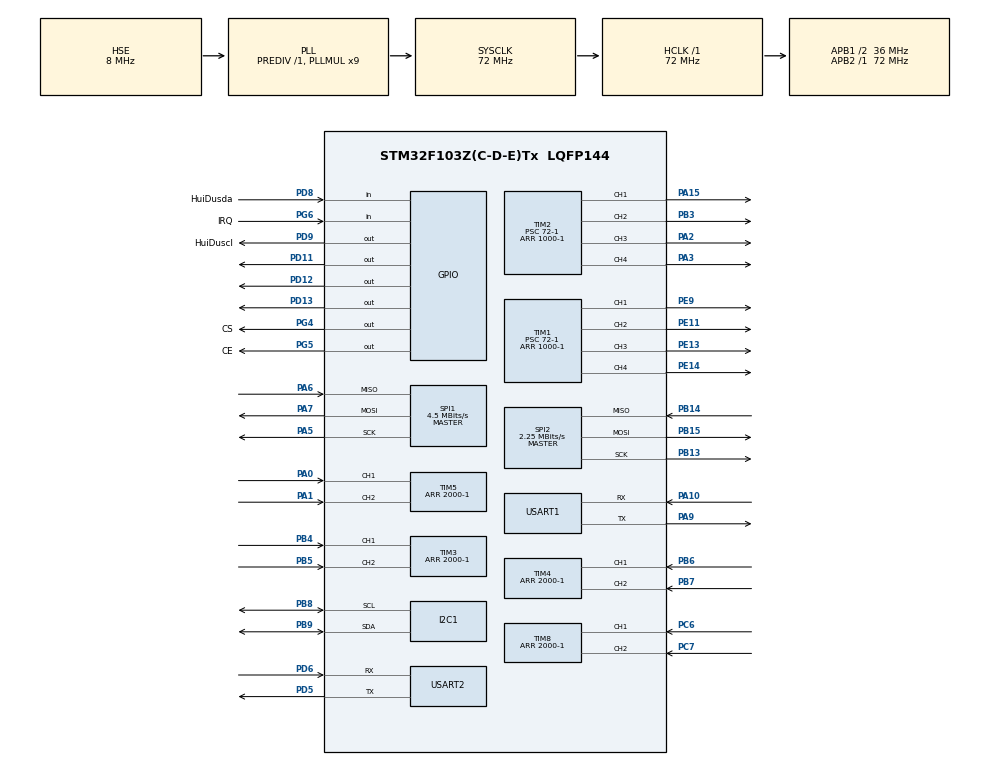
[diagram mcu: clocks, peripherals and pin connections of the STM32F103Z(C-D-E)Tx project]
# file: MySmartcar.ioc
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FREERTOS.Tasks01=defaultTask,0,128,StartDefaultTask,Default,NULL,Dynamic,NULL,NULL
Mcu.Family=STM32F1
Mcu.Name=STM32F103Z(C-D-E)Tx
Mcu.Package=LQFP144
NVIC.PriorityGroup=NVIC_PRIORITYGROUP_4
NVIC.SPI2_IRQn=true\:5\:0\:false\:false\:true\:true\:true\:true\:true
NVIC.TIM1_BRK_IRQn=true\:5\:0\:true\:false\:true\:true\:true\:true\:true
NVIC.TIM1_CC_IRQn=true\:5\:0\:true\:false\:true\:true\:true\:true\:true
NVIC.TIM1_TRG_COM_IRQn=true\:5\:0\:true\:false\:true\:true\:true\:true\:true
NVIC.TIM1_UP_IRQn=true\:5\:0\:true\:false\:true\:true\:true\:true\:true
NVIC.TIM2_IRQn=true\:5\:0\:true\:false\:true\:true\:true\:true\:true
NVIC.TIM3_IRQn=true\:5\:0\:true\:false\:true\:true\:true\:true\:true
NVIC.TIM4_IRQn=true\:5\:0\:true\:false\:true\:true\:true\:true\:true
NVIC.TIM5_IRQn=true\:5\:0\:true\:false\:true\:true\:true\:true\:true
NVIC.TIM6_IRQn=true\:5\:0\:true\:false\:true\:true\:true\:true\:true
NVIC.TIM7_IRQn=true\:15\:0\:false\:false\:true\:false\:true\:true\:true
NVIC.TIM8_BRK_IRQn=true\:5\:0\:true\:false\:true\:true\:true\:true\:true
NVIC.TIM8_CC_IRQn=true\:5\:0\:false\:false\:true\:true\:true\:true\:true
NVIC.TIM8_TRG_COM_IRQn=true\:5\:0\:false\:false\:true\:true\:true\:true\:true
NVIC.TIM8_UP_IRQn=true\:5\:0\:false\:false\:true\:true\:true\:true\:true
NVIC.TimeBase=TIM7_IRQn
NVIC.TimeBaseIP=TIM7
NVIC.USART1_IRQn=true\:5\:0\:false\:false\:true\:true\:true\:true\:true
NVIC.USART2_IRQn=true\:5\:0\:false\:false\:true\:true\:true\:true\:true
OSC_IN.Mode=HSE-External-Oscillator
OSC_IN.Signal=RCC_OSC_IN
OSC_OUT.Mode=HSE-External-Oscillator
OSC_OUT.Signal=RCC_OSC_OUT
PA0-WKUP.Signal=S_TIM5_CH1
PA1.Signal=S_TIM5_CH2
PA10.Mode=Asynchronous
PA10.Signal=USART1_RX
PA13.Mode=Serial_Wire
PA13.Signal=SYS_JTMS-SWDIO
PA14.Mode=Serial_Wire
PA14.Signal=SYS_JTCK-SWCLK
PA15.Signal=S_TIM2_CH1_ETR
PA2.Signal=S_TIM2_CH3
PA3.Signal=S_TIM2_CH4
PA5.Mode=Full_Duplex_Master
PA5.Signal=SPI1_SCK
PA6.Mode=Full_Duplex_Master
PA6.Signal=SPI1_MISO
PA7.Mode=Full_Duplex_Master
PA7.Signal=SPI1_MOSI
PA9.Mode=Asynchronous
PA9.Signal=USART1_TX
PB13.Mode=Full_Duplex_Master
PB13.Signal=SPI2_SCK
PB14.Mode=Full_Duplex_Master
PB14.Signal=SPI2_MISO
PB15.Mode=Full_Duplex_Master
PB15.Signal=SPI2_MOSI
PB3.Signal=S_TIM2_CH2
PB4.Signal=S_TIM3_CH1
PB5.Signal=S_TIM3_CH2
PB6.Signal=S_TIM4_CH1
PB7.Signal=S_TIM4_CH2
PB8.Mode=I2C
PB8.Signal=I2C1_SCL
PB9.Mode=I2C
PB9.Signal=I2C1_SDA
PC14-OSC32_IN.Mode=LSE-External-Oscillator
PC14-OSC32_IN.Signal=RCC_OSC32_IN
PC15-OSC32_OUT.Mode=LSE-External-Oscillator
PC15-OSC32_OUT.Signal=RCC_OSC32_OUT
PC6.Signal=S_TIM8_CH1
PC7.Signal=S_TIM8_CH2
PD11.Signal=GPIO_Output
PD12.Signal=GPIO_Output
PD13.Signal=GPIO_Output
PD5.Mode=Asynchronous
PD5.Signal=USART2_TX
PD6.Mode=Asynchronous
PD6.Signal=USART2_RX
PD8.GPIO_Label=HuiDusda
PD8.Signal=GPIO_Input
PD9.GPIO_Label=HuiDuscl
PD9.Signal=GPIO_Output
PE11.Signal=S_TIM1_CH2
PE13.Signal=S_TIM1_CH3
PE14.Signal=S_TIM1_CH4
PE9.Signal=S_TIM1_CH1
PG4.GPIO_Label=CS
PG4.GPIO_Speed=GPIO_SPEED_FREQ_HIGH
PG4.PinState=GPIO_PIN_SET
PG4.Signal=GPIO_Output
PG5.GPIO_Label=CE
PG5.GPIO_Speed=GPIO_SPEED_FREQ_HIGH
PG5.PinState=GPIO_PIN_SET
PG5.Signal=GPIO_Output
PG6.GPIO_Label=IRQ
PG6.Signal=GPIO_Input
ProjectManager.HeapSize=0x200
ProjectManager.StackSize=0x400
ProjectManager.TargetToolchain=STM32CubeIDE
RCC.AHBFreq_Value=72000000
RCC.APB1CLKDivider=RCC_HCLK_DIV2
RCC.APB1Freq_Value=36000000
RCC.APB1TimFreq_Value=72000000
RCC.APB2Freq_Value=72000000
RCC.APB2TimFreq_Value=72000000
RCC.HCLKFreq_Value=72000000
RCC.PLLMUL=RCC_PLL_MUL9
RCC.PLLSourceVirtual=RCC_PLLSOURCE_HSE
RCC.SYSCLKFreq_VALUE=72000000
RCC.SYSCLKSource=RCC_SYSCLKSOURCE_PLLCLK
RCC.USBFreq_Value=72000000
SH.S_TIM1_CH1.0=TIM1_CH1,PWM Generation1 CH1
SH.S_TIM1_CH2.0=TIM1_CH2,PWM Generation2 CH2
SH.S_TIM1_CH3.0=TIM1_CH3,PWM Generation3 CH3
SH.S_TIM1_CH4.0=TIM1_CH4,PWM Generation4 CH4
SH.S_TIM2_CH1_ETR.0=TIM2_CH1,PWM Generation1 CH1
SH.S_TIM2_CH2.0=TIM2_CH2,PWM Generation2 CH2
SH.S_TIM2_CH3.0=TIM2_CH3,PWM Generation3 CH3
SH.S_TIM2_CH4.0=TIM2_CH4,PWM Generation4 CH4
SH.S_TIM3_CH1.0=TIM3_CH1,Encoder_Interface
SH.S_TIM3_CH2.0=TIM3_CH2,Encoder_Interface
SH.S_TIM4_CH1.0=TIM4_CH1,Encoder_Interface
SH.S_TIM4_CH2.0=TIM4_CH2,Encoder_Interface
SH.S_TIM5_CH1.0=TIM5_CH1,Encoder_Interface
SH.S_TIM5_CH2.0=TIM5_CH2,Encoder_Interface
SH.S_TIM8_CH1.0=TIM8_CH1,Encoder_Interface
SH.S_TIM8_CH2.0=TIM8_CH2,Encoder_Interface
SPI1.BaudRatePrescaler=SPI_BAUDRATEPRESCALER_16
SPI1.CalculateBaudRate=4.5 MBits/s
SPI1.Direction=SPI_DIRECTION_2LINES
SPI1.Mode=SPI_MODE_MASTER
SPI1.VirtualType=VM_MASTER
SPI2.BaudRatePrescaler=SPI_BAUDRATEPRESCALER_16
SPI2.CalculateBaudRate=2.25 MBits/s
SPI2.Direction=SPI_DIRECTION_2LINES
SPI2.Mode=SPI_MODE_MASTER
SPI2.VirtualType=VM_MASTER
TIM1.Channel-PWM\ Generation1\ CH1=TIM_CHANNEL_1
TIM1.Channel-PWM\ Generation2\ CH2=TIM_CHANNEL_2
TIM1.Channel-PWM\ Generation3\ CH3=TIM_CHANNEL_3
TIM1.Channel-PWM\ Generation4\ CH4=TIM_CHANNEL_4
TIM1.Period=1000-1
TIM1.Prescaler=72-1
TIM2.Channel-PWM\ Generation1\ CH1=TIM_CHANNEL_1
TIM2.Channel-PWM\ Generation2\ CH2=TIM_CHANNEL_2
TIM2.Channel-PWM\ Generation3\ CH3=TIM_CHANNEL_3
TIM2.Channel-PWM\ Generation4\ CH4=TIM_CHANNEL_4
TIM2.Period=1000-1
TIM2.Prescaler=72-1
TIM3.EncoderMode=TIM_ENCODERMODE_TI12
TIM3.Period=2000-1
TIM4.EncoderMode=TIM_ENCODERMODE_TI12
TIM4.Period=2000-1
TIM5.EncoderMode=TIM_ENCODERMODE_TI12
TIM5.Period=2000-1
TIM6.Period=10000-1
TIM6.Prescaler=72-1
TIM8.EncoderMode=TIM_ENCODERMODE_TI12
TIM8.Period=2000-1
USART1.VirtualMode=VM_ASYNC
USART2.VirtualMode=VM_ASYNC
VP_FREERTOS_VS_CMSIS_V1.Mode=CMSIS_V1
VP_SYS_VS_tim7.Mode=TIM7
VP_TIM1_VS_ClockSourceINT.Mode=Internal
VP_TIM2_VS_ClockSourceINT.Mode=Internal
VP_TIM6_VS_ClockSourceINT.Mode=Enable_Timer
board=custom

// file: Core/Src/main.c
/* USER CODE BEGIN Header */
/**
  ******************************************************************************
  * @file           : main.c
  * @brief          : Main program body
  ******************************************************************************
  * @attention
  *
  * Copyright (c) 2024 STMicroelectronics.
  * All rights reserved.
  *
  * This software is licensed under terms that can be found in the LICENSE file
  * in the root directory of this software component.
  * If no LICENSE file comes with this software, it is provided AS-IS.
  *
  ******************************************************************************
  */
/* USER CODE END Header */

#include "main.h"
#include "cmsis_os.h"
#include "i2c.h"
#include "spi.h"
#include "tim.h"
#include "usart.h"
#include "gpio.h"

/* USER CODE BEGIN Includes */
#include "fifo.h"
#include "mpu9250.h"
#include "WouoUI.h"
#include "WouoUI_user.h"
/* USER CODE END Includes */

/* USER CODE BEGIN PTD */
extern FifoStruct myFifo;
extern u8 fifoBuffer[FifoCapacity];
void app_init(void);

/* USER CODE END PTD */

void SystemClock_Config(void);
void MX_FREERTOS_Init(void);

int main(void)
{

  /* MCU Configuration--------------------------------------------------------*/

  /* Reset of all peripherals, Initializes the Flash interface and the Systick. */
  HAL_Init();

  /* Configure the system clock */
  SystemClock_Config();

  /* Initialize all configured peripherals */
  MX_USART1_UART_Init();
  MX_USART2_UART_Init();
  MX_GPIO_Init();
  MX_TIM1_Init();
  MX_TIM2_Init();
  MX_TIM3_Init();
  MX_TIM4_Init();
  MX_TIM5_Init();
  MX_TIM6_Init();
  MX_TIM8_Init();
  MX_SPI1_Init();
  MX_SPI2_Init();
  MX_I2C1_Init();
  /* USER CODE BEGIN 2 */

  app_init();  //  app初始化

  /* USER CODE END 2 */

  /* Call init function for freertos objects (in freertos.c) */
  MX_FREERTOS_Init();

  /* Start scheduler */
  osKernelStart();

  /* We should never get here as control is now taken by the scheduler */
  /* Infinite loop */
    while (1)
    {

    }
}

void SystemClock_Config(void)
{
  RCC_OscInitTypeDef RCC_OscInitStruct = {0};
  RCC_ClkInitTypeDef RCC_ClkInitStruct = {0};

  /** Initializes the RCC Oscillators according to the specified parameters
  * in the RCC_OscInitTypeDef structure.
  */
  RCC_OscInitStruct.OscillatorType = RCC_OSCILLATORTYPE_HSE;
  RCC_OscInitStruct.HSEState = RCC_HSE_ON;
  RCC_OscInitStruct.HSEPredivValue = RCC_HSE_PREDIV_DIV1;
  RCC_OscInitStruct.HSIState = RCC_HSI_ON;
  RCC_OscInitStruct.PLL.PLLState = RCC_PLL_ON;
  RCC_OscInitStruct.PLL.PLLSource = RCC_PLLSOURCE_HSE;
  RCC_OscInitStruct.PLL.PLLMUL = RCC_PLL_MUL9;
  if (HAL_RCC_OscConfig(&RCC_OscInitStruct) != HAL_OK)
  {
    Error_Handler();
  }

  /** Initializes the CPU, AHB and APB buses clocks
  */
  RCC_ClkInitStruct.ClockType = RCC_CLOCKTYPE_HCLK|RCC_CLOCKTYPE_SYSCLK
                              |RCC_CLOCKTYPE_PCLK1|RCC_CLOCKTYPE_PCLK2;
  RCC_ClkInitStruct.SYSCLKSource = RCC_SYSCLKSOURCE_PLLCLK;
  RCC_ClkInitStruct.AHBCLKDivider = RCC_SYSCLK_DIV1;
  RCC_ClkInitStruct.APB1CLKDivider = RCC_HCLK_DIV2;
  RCC_ClkInitStruct.APB2CLKDivider = RCC_HCLK_DIV1;

  if (HAL_RCC_ClockConfig(&RCC_ClkInitStruct, FLASH_LATENCY_2) != HAL_OK)
  {
    Error_Handler();
  }
}

/* USER CODE BEGIN 4 */
void app_init(void)
{
  // 1. 初始化FIFO
  userFifoInit(&myFifo, fifoBuffer);

  // 2. 初始化硬件外设
  car_motor_init();       // 电机初始化
  OLED_Init();            // OLED初始化
  OLED_ColorTurn(0);
  OLED_DisplayTurn(0);
  WouoUI_SelectDefaultUI();  //  ui初始化
  WouoUI_AttachSendBuffFun(OLED_SendBuff);
  TestUI_Init();

  MPU9250_Init();
  MPU9250_CalibrateGyro(); // 记得上电校准时车要静止

  // 4. 开启编码器
  HAL_TIM_Encoder_Start(&htim3, TIM_CHANNEL_ALL);
  HAL_TIM_Encoder_Start(&htim4, TIM_CHANNEL_ALL);
  HAL_TIM_Encoder_Start(&htim5, TIM_CHANNEL_ALL);
  HAL_TIM_Encoder_Start(&htim8, TIM_CHANNEL_ALL);

  // 5. 开启定时器中断
  HAL_TIM_Base_Start_IT(&htim1);
  HAL_TIM_Base_Start_IT(&htim2);
  HAL_TIM_Base_Start_IT(&htim3);
  HAL_TIM_Base_Start_IT(&htim4);
  HAL_TIM_Base_Start_IT(&htim5);
  HAL_TIM_Base_Start_IT(&htim6);
  HAL_TIM_Base_Start_IT(&htim8);
}
/* USER CODE END 4 */

void HAL_TIM_PeriodElapsedCallback(TIM_HandleTypeDef *htim)
{
  /* NOTE : This function should not be modified, when the callback is needed,
            the HAL_TIM_PeriodElapsedCallback could be implemented in the user file
  */
  if (htim->Instance == TIM7) {
    HAL_IncTick();
  }
}

void Error_Handler(void)
{
  __disable_irq();
  while (1)
  {
  }
}

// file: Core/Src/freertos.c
/* USER CODE BEGIN Header */
/**
 ******************************************************************************
 * @file           : freertos.c
 * @brief          : 麦轮精准控制系统 - 增加航向角(Yaw)闭环纠偏功能
 ******************************************************************************
 */
/* USER CODE END Header */

#include "FreeRTOS.h"
#include "task.h"
#include "main.h"
#include "cmsis_os.h"

/* USER CODE BEGIN Includes */
#include "fifo.h"
#include "stdio.h"
#include "string.h"
#include "math.h"
#include "pid.h"
#include "mpu9250.h"
#include "WouoUI.h"
#include "WouoUI_user.h"
/* USER CODE END Includes */

/* USER CODE BEGIN PTD */
osThreadId sensorTaskHandle;
osThreadId pidTaskHandle;
osThreadId oledTaskHandle;
osThreadId uart2TaskHandle;
osThreadId defaultTaskHandle;

// 外部硬件变量
extern int16_t encoderValue1, encoderValue2, encoderValue3, encoderValue4;                        //  编码器获得的速度
extern int targetSpeed_1, targetSpeed_2, targetSpeed_3, targetSpeed_4;                            //  目标速度（位置环的输出，作为速度环的输入）
extern long long int encoder_pulses_1, encoder_pulses_2, encoder_pulses_3, encoder_pulses_4;      //  编码器获取的脉冲数
extern PID_Position wheel1_pid, wheel2_pid, wheel3_pid, wheel4_pid;                               //  电机位置环pid
extern UART_HandleTypeDef huart2;                                                                 //  串口2与esp通讯
extern uint8_t rxBuffer1[];                                                                       //  接收缓存区

//  运动控制变量
float vx_set = 0.0f;
float vy_set = 0.0f;
float vw_set = 0.0f;
//  目标脉冲总数
float Total_angle_1 = 0;
float Total_angle_2 = 0;
float Total_angle_3 = 0;
float Total_angle_4 = 0;
//  车辆自稳定变量
uint8_t car_ready = 0;

// --- 航向锁定(Yaw-Hold) 核心变量 ---
Attitude_t my_car_angle = {0};
float target_yaw = 0.0f;        // 目标锁定角度
float yaw_correction = 0.0f;    // PID计算出的纠偏旋转速度
// PID参数：Kp=2.0, Ki=0, Kd=0.5 角度环pid
PID_Position yaw_pid = {1.5f, 0.0f, 0.4f, 0, 0};

/* USER CODE END PTD */

void StartSensorTask(void const * argument);
void StartPidTask(void const * argument);
void StartOledTask(void const * argument);
void StartUart2Task(void const * argument);
void StartDefaultTask(void const * argument);

void mecanum_calc(float vx, float vy, float vw, float *w1, float *w2, float *w3, float *w4);
void Reset_All_Coordinates(void);

void MX_FREERTOS_Init(void);

/**
  * @brief  FreeRTOS初始化并创建任务
  */
void MX_FREERTOS_Init(void)
{
    osThreadDef(defaultTask, StartDefaultTask, osPriorityNormal, 0, 256);
    defaultTaskHandle = osThreadCreate(osThread(defaultTask), NULL);

    osThreadDef(pidTask, StartPidTask, osPriorityHigh, 0, 256);
    pidTaskHandle = osThreadCreate(osThread(pidTask), NULL);

    osThreadDef(sensorTask, StartSensorTask, osPriorityAboveNormal, 0, 512);
    sensorTaskHandle = osThreadCreate(osThread(sensorTask), NULL);

    osThreadDef(uart2Task, StartUart2Task, osPriorityNormal, 0, 512);
    uart2TaskHandle = osThreadCreate(osThread(uart2Task), NULL);

    osThreadDef(oledTask, StartOledTask, osPriorityLow, 0, 512);
    oledTaskHandle = osThreadCreate(osThread(oledTask), NULL);
}

/**
  * @brief  序列执行任务：处理启动序列
  */
void StartDefaultTask(void const * argument)
{
    vTaskDelay(500); // 等待传感器稳定

    // 关键：上电执行陀螺仪校准（此时确保小车静止）
    MPU9250_CalibrateGyro();

    Reset_All_Coordinates();

    for(;;)
    {
        vTaskDelay(1000);
    }
}

/* USER CODE BEGIN Application */

/**
  * @brief  传感器采集任务 (10ms)：负责编码器读取与姿态解算
  */
void StartSensorTask(void const * argument)
{
    TickType_t xLastWakeTime = xTaskGetTickCount();
    uint32_t last_run_time = HAL_GetTick();

    for(;;)
    {
        vTaskDelayUntil(&xLastWakeTime, pdMS_TO_TICKS(10));

        // 计算真实 dt
        uint32_t current_time = HAL_GetTick();
        float actual_dt = (current_time - last_run_time) / 1000.0f;
        last_run_time = current_time;
        if(actual_dt <= 0.0f || actual_dt > 0.1f) actual_dt = 0.01f;

        // 1. 读取硬件编码器并更新累加器
        encoderValue1 = Read_Encoder_1();
        encoderValue2 = Read_Encoder_2();
        encoderValue3 = Read_Encoder_3();
        encoderValue4 = Read_Encoder_4();
        encoder_real();

        encoder_pulses_1 += encoderValue1;
        encoder_pulses_2 += encoderValue2;
        encoder_pulses_3 += encoderValue3;
        encoder_pulses_4 += encoderValue4;

        // 2. 姿态解算_卡尔曼滤波之后的结果
        MPU9250_Get_Attitude(&my_car_angle, actual_dt);
    }
}

/**
  * @brief  PID控制核心任务 (10ms)：实现航向角闭环与麦轮逆解
  */
void StartPidTask(void const * argument)
{
    TickType_t xLastWakeTime = xTaskGetTickCount();
    float w1, w2, w3, w4;

    for(;;)
    {
        vTaskDelayUntil(&xLastWakeTime, pdMS_TO_TICKS(10));
        //vx_set = 5;  //  测试
        if(!car_ready)
        {
            Total_angle_1 = (float)encoder_pulses_1;
            Total_angle_2 = (float)encoder_pulses_2;
            Total_angle_3 = (float)encoder_pulses_3;
            Total_angle_4 = (float)encoder_pulses_4;
            target_yaw = my_car_angle.Yaw;
            continue;
        }

        // --- 航向锁定逻辑开始 ---
        // 如果外部有明显的旋转指令(vw_set)，则认为用户正在转向，更新目标角
        if(fabs(vw_set) > 0.1f)
        {
            target_yaw = my_car_angle.Yaw;
            yaw_correction = 0;
        }
        else
        {
            // 否则，锁定航向：计算当前偏航误差
            float yaw_error = target_yaw - my_car_angle.Yaw;

            // 环形角度差值修正 (-180~180)
            if(yaw_error > 180.0f)  yaw_error -= 360.0f;
            if(yaw_error < -180.0f) yaw_error += 360.0f;

            // PID纠偏：当偏航角非0时，计算补救的旋转速度 vw
            // 目标值为0(因为误差已经计算出来了), 限制纠偏最大速度为15
            yaw_correction = Position_PID_control(&yaw_pid, -yaw_error, 0, 15);
        }
        // --- 航向锁定逻辑结束 ---

        // 麦轮逆解：叠加手动指令(vw_set)与自动纠偏指令(yaw_correction)
        mecanum_calc(vx_set, vy_set, vw_set + yaw_correction, &w1, &w2, &w3, &w4);

        // 更新目标脉冲点
        Total_angle_1 += w1;
        Total_angle_2 += w2;
        Total_angle_3 += w3;
        Total_angle_4 += w4;

        // 电机位置环 PID 控制
        targetSpeed_1 = Position_PID_control(&wheel1_pid, (float)encoder_pulses_1, Total_angle_1, 15);
        targetSpeed_2 = Position_PID_control(&wheel2_pid, (float)encoder_pulses_2, Total_angle_2, 15);
        targetSpeed_3 = Position_PID_control(&wheel3_pid, (float)encoder_pulses_3, Total_angle_3, 15);
        targetSpeed_4 = Position_PID_control(&wheel4_pid, (float)encoder_pulses_4, Total_angle_4, 15);

        // 输出到硬件驱动
        car_speed_control();
    }
}

/**
  * @brief  串口解析任务 (10ms)
  */
void StartUart2Task(void const * argument)
{
    HAL_UART_Receive_IT(&huart2, rxBuffer1, 1);
    for(;;)
    {
        My_cmd_analysis();  //  串口接收任务
        vTaskDelay(10);
    }
}

/**
  * @brief  OLED刷新任务 (100ms)
  */
void StartOledTask(void const * argument)
{
    for(;;)
    {
        uint16_t key_num = 0;
        switch(key_num)
        {
        case 1:  WOUOUI_MSG_QUE_SEND(msg_down);break;
        case 2:  WOUOUI_MSG_QUE_SEND(msg_left);break;
        case 3:  WOUOUI_MSG_QUE_SEND(msg_click);break;
        case 4:  WOUOUI_MSG_QUE_SEND(msg_right);break;
        case 5:  WOUOUI_MSG_QUE_SEND(msg_up);break;
        case 33: WOUOUI_MSG_QUE_SEND(msg_return);break;
        default:                                  break;
        }
        WouoUI_Proc(25);
        WouoUI_WavePageUpdateVal(&wave_page, 0, 0);
        WouoUI_WavePageUpdateVal(&wave_page, 1, 1);
        vTaskDelay(1);
    }
}

/* 闲置任务内存分配 -----------------------------------------------------------*/
static StaticTask_t xIdleTaskTCBBuffer;
static StackType_t xIdleStack[configMINIMAL_STACK_SIZE];
void vApplicationGetIdleTaskMemory( StaticTask_t **ppxIdleTaskTCBBuffer, StackType_t **ppxIdleTaskStackBuffer, uint32_t *pulIdleTaskStackSize )
{
    *ppxIdleTaskTCBBuffer = &xIdleTaskTCBBuffer;
    *ppxIdleTaskStackBuffer = &xIdleStack[0];
    *pulIdleTaskStackSize = configMINIMAL_STACK_SIZE;
}

//////////////////////////////////////////////       一些自定义函数        //////////////////////////////////////

/**
  * @brief  深度复位：清除位置累加、PID状态及目标航向
*/
void Reset_All_Coordinates(void)
{
    car_ready = 0;

    // 编码器累积脉冲清零
    encoder_pulses_1 = 0; encoder_pulses_2 = 0;
    encoder_pulses_3 = 0; encoder_pulses_4 = 0;

    // 逻辑位置目标清零
    Total_angle_1 = 0; Total_angle_2 = 0;
    Total_angle_3 = 0; Total_angle_4 = 0;

    // PID状态重置
    wheel1_pid.integral = 0; wheel1_pid.last_error = 0;
    wheel2_pid.integral = 0; wheel2_pid.last_error = 0;
    wheel3_pid.integral = 0; wheel3_pid.last_error = 0;
    wheel4_pid.integral = 0; wheel4_pid.last_error = 0;

    yaw_pid.integral = 0; yaw_pid.last_error = 0;

    // 锁定当前角度为初始目标航向
    target_yaw = my_car_angle.Yaw;

    vTaskDelay(10);
    car_ready = 1;
}

/**
  * @brief  麦轮运动学逆解计算
  */
void mecanum_calc(float vx, float vy, float vw, float *w1, float *w2, float *w3, float *w4)
{
    *w1 = vx - vy - vw;
    *w2 = vx + vy + vw;
    *w3 = vx - vy + vw;
    *w4 = vx + vy - vw;
}

//  走直线函数
void Move_Distance_Precision(float distance) {
    // 你的距离控制逻辑
}

/**
 * @brief 原地旋转指定的角度
 * @param degree: 要旋转的角度（正数左转，负数右转）
 */
void Rotate_Degree_Precision(float degree) {
    // 1. 告诉系统我们要开始精准控制了
    // 确保 vw_set 为 0，这样 pid 任务才会进入“航向锁定”模式
    vw_set = 0;

    // 2. 直接修改目标航向角
    target_yaw += degree;

    // 3. 处理角度回环 (保证在 -180 到 180 之间)
    if (target_yaw > 180.0f)  target_yaw -= 360.0f;
    if (target_yaw < -180.0f) target_yaw += 360.0f;

    // 提示：调用这个函数后，StartPidTask 里的 yaw_pid 会自动接管。
    // 它会发现当前角度和新的 target_yaw 有误差，从而驱动轮子旋转。
}

/* USER CODE END Application */
